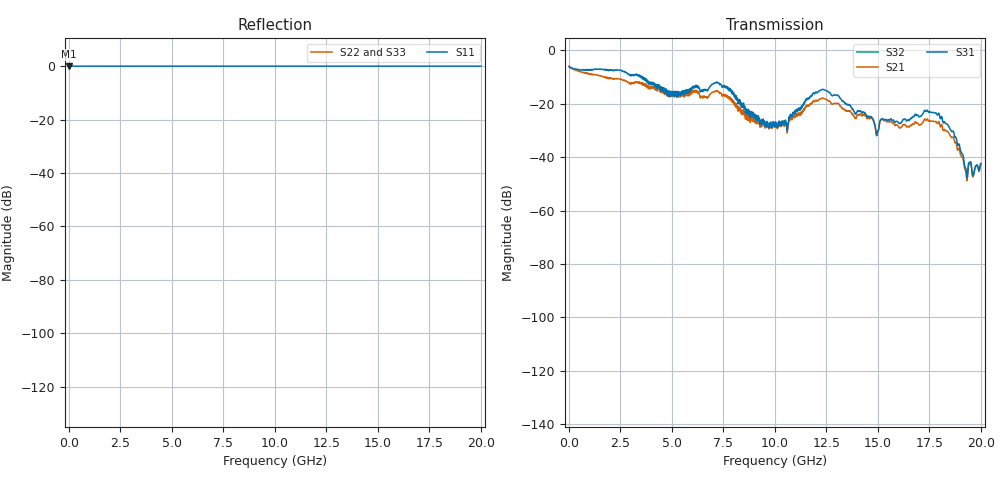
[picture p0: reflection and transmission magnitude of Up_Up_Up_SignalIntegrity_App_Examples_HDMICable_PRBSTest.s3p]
! File created by SignalIntegrity v1.3.2: Signal and Power Integrity Tools
! https://github.com/TeledyneLeCroy/SignalIntegrity
# MHz S MA R 50.0
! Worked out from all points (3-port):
!   2000 points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, 10 MHz to 20 GHz, reference 50 ohm
!   strongest paths, dB at 10 MHz, 5.01 GHz, 10.01 GHz, 15.01 GHz, 20 GHz:
!     S31: -5.9, -16.4, -28.2, -30.1, -42.4
!     S21: -6.2, -16.6, -28.4, -30.3, -42.6
!     S32: -, -, -, -, -
!   lowest |S11| = 0.0 dB at 10 MHz (marker M1)
!   |S11| at or under -10 dB: nowhere
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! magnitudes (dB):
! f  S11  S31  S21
! 10 MHz  0.0  -5.9  -6.2
! 4.91 GHz  0.0  -15.3  -15.5
! 7.2 GHz  0.0  -12.0  -15.3
! 10.01 GHz  0.0  -28.2  -28.4
! 12.37 GHz  0.0  -14.7  -18.0
! 14.96 GHz  0.0  -31.2  -31.5
! 17.89 GHz  0.0  -24.3  -27.4
! 18.72 GHz  0.0  -32.2  -34.2
! 19.28 GHz  0.0  -44.6  -45.6
! 20 GHz  0.0  -42.4  -42.6
